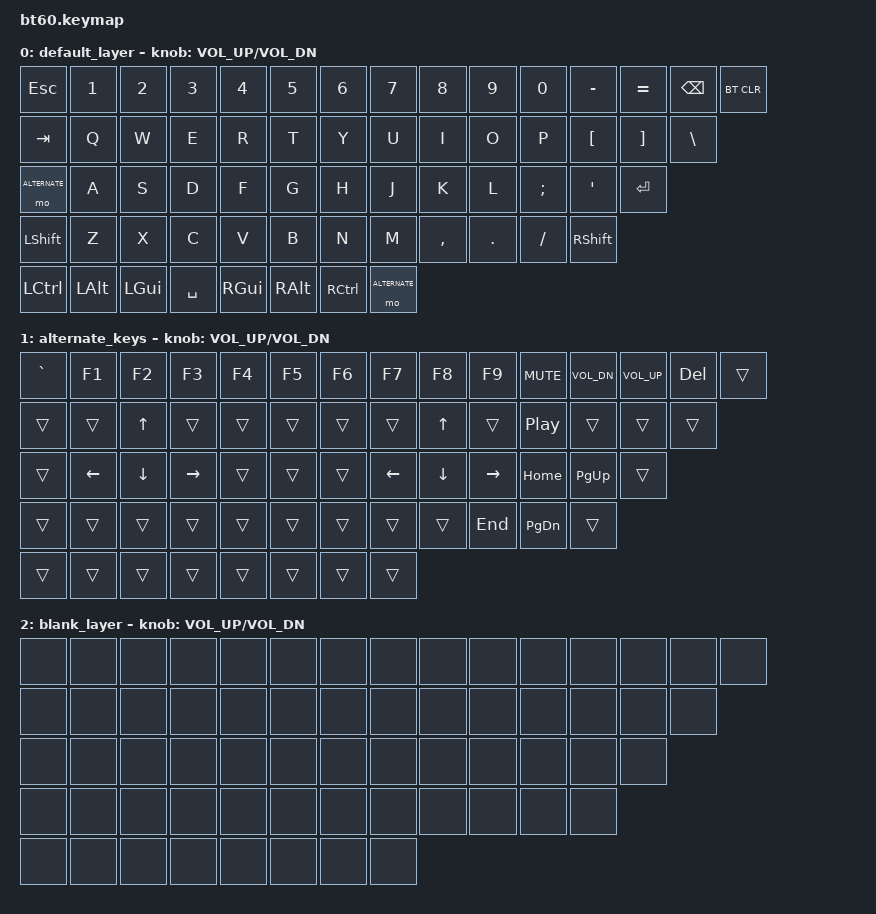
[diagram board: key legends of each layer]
#include <behaviors.dtsi>
#include <dt-bindings/zmk/keys.h>
#include <dt-bindings/zmk/bt.h>
#define DEFAULT 0
#define ALTERNATE 1
#define BLANK 2
&kscan0 {
    debounce-period = <15>;
};

/ {
    combos {
        compatible = "zmk,combos";
        combo_bt_clear {
            timeout-ms = <100>;
            key-positions = <0 29 47>;
            bindings = <&bt BT_CLR>;
        };
        combo_bt_0 {
            timeout-ms = <100>;
            key-positions = <1 29 47>;
            bindings = <&bt BT_SEL 0>;
        };
        combo_bt_1 {
            timeout-ms = <100>;
            key-positions = <2 29 47>;
            bindings = <&bt BT_SEL 1>;
        };
        combo_bt_2 {
            timeout-ms = <100>;
            key-positions = <3 29 47>;
            bindings = <&bt BT_SEL 2>;
        };
        combo_bt_nxt {
            timeout-ms = <100>;
            key-positions = <4 29 47>;
            bindings = <&bt BT_NXT>;
        };
        combo_bootloader {
            timeout-ms = <100>;
            key-positions = <41 54 61>;
            bindings = <&bootloader>;
        };
        combo_reset {
            timeout-ms = <100>;
            key-positions = <28 54 61>;
            bindings = <&reset>;
        };
		combo_blank {
            timeout-ms = <100>;
            key-positions = <38 42 53>;
            bindings = <&tog BLANK>;
        };
    };
};

/ {
	keymap {
		compatible = "zmk,keymap";

		default_layer {
				// ------------------------------------------------------------------------------------------
				// | ESC |  1  |  2  |  3  |  4  |  5  |  6  |  7  |  8  |  9  |  0  |  -  |  =  |   BKSP   | DEL
				// | TAB  |  Q  |  W  |  E  |  R  |  T  |  Y  |  U  |  I  |  O  |  P  |  [  |  ]  |   \    |
				// | LAYER  |  A  |  S  |  D  |  F  |  G  |  H  |  J  |  K  |  L  |  ;  |  '  |     ENTER    |
				// |  SHIFT    |  Z  |  X  |  C  |  V  |  B  |  N  |  M  |  ,  |  .  | /   |      SHIFT     |
				// |  CTL  |  ALT  |  CMD  |            SPACE               | CMD | ALT    |  MENU    |  LAYER  |
				// ------------------------------------------------------------------------------------------
			bindings = <
				&kp ESC &kp N1 &kp N2 &kp N3 &kp N4 &kp N5 &kp N6 &kp N7 &kp  N8   &kp  N9 &kp  N0  &kp MINUS &kp EQUAL &kp BSPC &bt BT_CLR
				&kp TAB  &kp Q  &kp W  &kp E  &kp R  &kp T  &kp Y  &kp U  &kp  I    &kp  O  &kp  P   &kp LBKT &kp RBKT  &kp BSLH
				&mo ALTERNATE  &kp A  &kp S  &kp D  &kp F  &kp G  &kp H  &kp J  &kp  K    &kp  L  &kp SEMI &kp SQT           &kp RET
				&kp LSHFT  &kp Z  &kp X  &kp C  &kp V  &kp B  &kp N  &kp M  &kp COMMA &kp DOT &kp FSLH             &kp RSHFT
				&kp LCTRL &kp LALT  &kp LGUI           &kp SPACE                          &kp RGUI &kp RALT &kp RCTRL &mo ALTERNATE
			>;
			sensor-bindings = <&inc_dec_kp C_VOL_UP C_VOL_DN>;
		};
		alternate_keys {
			bindings = <
				&kp GRAVE &kp F1 &kp F2 &kp F3 &kp F4 &kp F5 &kp F6 &kp F7 &kp  F8   &kp  F9 &kp C_MUTE  &kp C_VOL_DN &kp C_VOL_UP   &kp DEL &trans
				&trans &trans &kp UP &trans &trans &trans &trans &trans &kp UP &trans &kp C_PLAY_PAUSE &trans &trans &trans
				&trans &kp LEFT &kp DOWN &kp RIGHT &trans &trans &trans &kp LEFT &kp DOWN &kp RIGHT &kp HOME &kp PG_UP &trans
				&trans &trans &trans &trans &trans &trans &trans &trans &trans &kp END &kp PG_DN &trans
				&trans &trans &trans &trans &trans &trans &trans &trans
			>;
			sensor-bindings = <&inc_dec_kp C_VOL_UP C_VOL_DN>;
		};
		blank_layer {
			bindings = <
				&none &none &none &none &none &none &none &none &none &none &none &none &none &none &none 
				&none &none &none &none &none &none &none &none &none &none &none &none &none &none
				&none &none &none &none &none &none &none &none &none &none &none &none &none
				&none &none &none &none &none &none &none &none &none &none &none &none
				&none &none &none &none &none &none &none &none
			>;
			sensor-bindings = <&inc_dec_kp C_VOL_UP C_VOL_DN>;
		};
	};
};
 

